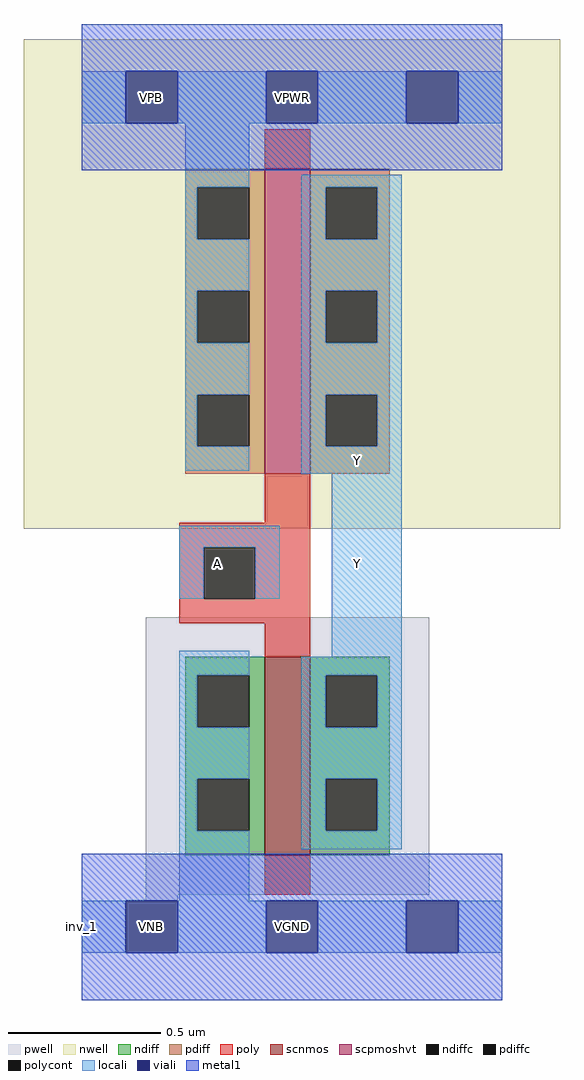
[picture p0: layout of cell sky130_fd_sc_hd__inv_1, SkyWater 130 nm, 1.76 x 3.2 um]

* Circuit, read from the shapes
.subckt sky130_fd_sc_hd__inv_1 A VGND VNB VPB VPWR Y
XM1 Y A VGND VNB sky130_fd_pr__nfet_01v8 w=0.65 l=0.15
XM2 Y A VPWR VPB sky130_fd_pr__pfet_01v8_hvt w=1 l=0.15
.ends

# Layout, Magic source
magic
tech sky130B
magscale 1 2
<< nwell >>
rect -38 261 314 582
<< pwell >>
rect 42 21 228 203
rect 42 17 63 21
rect 29 -17 63 17
<< scnmos >>
rect 120 47 150 177
<< scpmoshvt >>
rect 120 297 150 497
<< ndiff >>
rect 68 165 120 177
rect 68 131 76 165
rect 110 131 120 165
rect 68 97 120 131
rect 68 63 76 97
rect 110 63 120 97
rect 68 47 120 63
rect 150 165 202 177
rect 150 131 160 165
rect 194 131 202 165
rect 150 97 202 131
rect 150 63 160 97
rect 194 63 202 97
rect 150 47 202 63
<< pdiff >>
rect 68 485 120 497
rect 68 451 76 485
rect 110 451 120 485
rect 68 417 120 451
rect 68 383 76 417
rect 110 383 120 417
rect 68 349 120 383
rect 68 315 76 349
rect 110 315 120 349
rect 68 297 120 315
rect 150 485 202 497
rect 150 451 160 485
rect 194 451 202 485
rect 150 417 202 451
rect 150 383 160 417
rect 194 383 202 417
rect 150 349 202 383
rect 150 315 160 349
rect 194 315 202 349
rect 150 297 202 315
<< ndiffc >>
rect 76 131 110 165
rect 76 63 110 97
rect 160 131 194 165
rect 160 63 194 97
<< pdiffc >>
rect 76 451 110 485
rect 76 383 110 417
rect 76 315 110 349
rect 160 451 194 485
rect 160 383 194 417
rect 160 315 194 349
<< poly >>
rect 120 497 150 523
rect 120 265 150 297
rect 64 249 150 265
rect 64 215 80 249
rect 114 215 150 249
rect 64 199 150 215
rect 120 177 150 199
rect 120 21 150 47
<< polycont >>
rect 80 215 114 249
<< locali >>
rect 0 527 29 561
rect 63 527 121 561
rect 155 527 213 561
rect 247 527 276 561
rect 68 485 110 527
rect 68 451 76 485
rect 68 417 110 451
rect 68 383 76 417
rect 68 349 110 383
rect 68 315 76 349
rect 68 299 110 315
rect 144 485 210 493
rect 144 451 160 485
rect 194 451 210 485
rect 144 417 210 451
rect 144 383 160 417
rect 194 383 210 417
rect 144 349 210 383
rect 144 315 160 349
rect 194 315 210 349
rect 144 297 210 315
rect 64 249 130 263
rect 64 215 80 249
rect 114 215 130 249
rect 64 165 110 181
rect 164 177 210 297
rect 64 131 76 165
rect 64 97 110 131
rect 64 63 76 97
rect 64 17 110 63
rect 144 165 210 177
rect 144 131 160 165
rect 194 131 210 165
rect 144 97 210 131
rect 144 63 160 97
rect 194 63 210 97
rect 144 51 210 63
rect 0 -17 29 17
rect 63 -17 121 17
rect 155 -17 213 17
rect 247 -17 276 17
<< viali >>
rect 29 527 63 561
rect 121 527 155 561
rect 213 527 247 561
rect 29 -17 63 17
rect 121 -17 155 17
rect 213 -17 247 17
<< metal1 >>
rect 0 561 276 592
rect 0 527 29 561
rect 63 527 121 561
rect 155 527 213 561
rect 247 527 276 561
rect 0 496 276 527
rect 0 17 276 48
rect 0 -17 29 17
rect 63 -17 121 17
rect 155 -17 213 17
rect 247 -17 276 17
rect 0 -48 276 -17
<< labels >>
flabel locali s 164 289 198 323 0 FreeSans 340 0 0 0 Y
port 6 nsew signal output
flabel locali s 164 221 198 255 0 FreeSans 340 0 0 0 Y
port 6 nsew signal output
flabel locali s 72 221 106 255 0 FreeSans 340 0 0 0 A
port 1 nsew signal input
flabel nwell s 29 527 63 561 0 FreeSans 200 0 0 0 VPB
port 4 nsew power bidirectional
flabel pwell s 29 -17 63 17 0 FreeSans 200 0 0 0 VNB
port 3 nsew ground bidirectional
flabel metal1 s 29 -17 63 17 0 FreeSans 200 0 0 0 VGND
port 2 nsew ground bidirectional abutment
flabel metal1 s 29 527 63 561 0 FreeSans 200 0 0 0 VPWR
port 5 nsew power bidirectional abutment
rlabel comment s 0 0 0 0 4 inv_1
rlabel metal1 s 0 -48 276 48 1 VGND
port 2 nsew ground bidirectional abutment
rlabel metal1 s 0 496 276 592 1 VPWR
port 5 nsew power bidirectional abutment
<< properties >>
string FIXED_BBOX 0 0 276 544
string GDS_END 2194394
string GDS_FILE $PDKPATH/libs.ref/sky130_fd_sc_hd/gds/sky130_fd_sc_hd.gds
string GDS_START 2190900
string LEFclass CORE
string LEFsite unithd
string LEFsymmetry X Y R90
string path 0.000 0.000 6.900 0.000 
<< end >>
